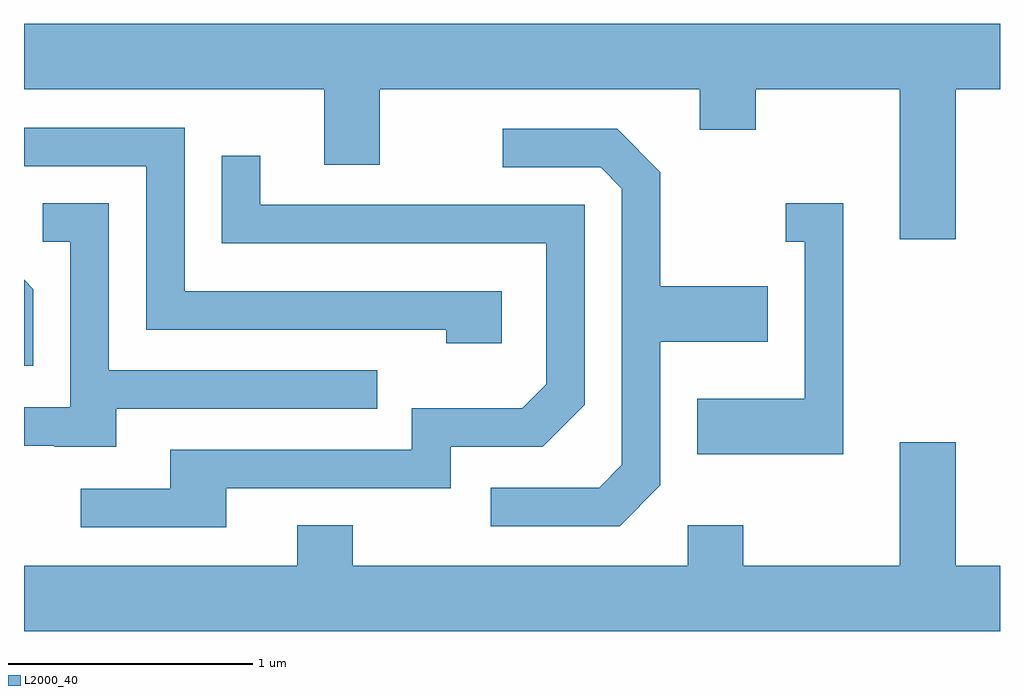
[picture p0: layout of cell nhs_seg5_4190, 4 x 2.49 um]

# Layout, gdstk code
import gdstk
lib = gdstk.Library(unit=1e-6, precision=1e-09)
def P(c, l, *ps):  # polygons
    for p in ps: c.add(gdstk.Polygon(p, *l))
L2000_40 = (2000, 40)

nhs_seg5_4190 = lib.new_cell('nhs_seg5_4190')
P(nhs_seg5_4190, L2000_40, [(313.429,1452.356),(313.611,1452.356),(313.611,1452.624),(309.611,1452.624),(309.611,1452.356),(310.841,1452.356),(310.841,1452.046),(311.069,1452.046),(311.069,1452.356),(312.381,1452.356),(312.381,1452.191),(312.609,1452.191),(312.609,1452.356),(313.201,1452.356),(313.201,1451.741),(313.429,1451.741)],
  [(311.569,1451.529),(310.269,1451.529),(310.269,1452.199),(309.611,1452.199),(309.611,1452.04),(309.612,1452.041),(310.111,1452.041),(310.111,1451.371),(311.341,1451.371),(311.341,1451.316),(311.569,1451.316)],
  [(312.219,1450.734),(312.219,1451.321),(312.659,1451.321),(312.659,1451.549),(312.219,1451.549),(312.219,1452.017),(312.042,1452.194),(311.573,1452.194),(311.573,1452.036),(311.974,1452.036),(312.061,1451.949),(312.061,1450.817),(311.969,1450.724),(311.523,1450.724),(311.523,1450.566),(312.052,1450.566)],
  [(310.439,1450.721),(311.359,1450.721),(311.359,1450.891),(311.737,1450.891),(311.909,1451.064),(311.909,1451.884),(310.579,1451.884),(310.579,1452.083),(310.421,1452.083),(310.421,1451.726),(311.751,1451.726),(311.751,1451.147),(311.654,1451.049),(311.201,1451.049),(311.201,1450.879),(310.211,1450.879),(310.211,1450.719),(309.843,1450.719),(309.843,1450.561),(310.439,1450.561)],
  [(309.989,1451.046),(311.058,1451.046),(311.058,1451.204),(309.959,1451.204),(309.959,1451.889),(309.688,1451.889),(309.688,1451.731),(309.801,1451.731),(309.801,1451.054),(309.611,1451.054),(309.611,1450.896),(309.735,1450.896),(309.735,1450.891),(309.989,1450.891)],
  [(312.969,1451.889),(312.733,1451.889),(312.733,1451.731),(312.811,1451.731),(312.811,1451.089),(312.371,1451.089),(312.371,1450.861),(312.969,1450.861)],
  [(309.649,1451.537),(309.611,1451.575),(309.611,1451.223),(309.649,1451.223)],
  [(313.611,1450.404),(313.429,1450.404),(313.429,1450.909),(313.201,1450.909),(313.201,1450.404),(312.559,1450.404),(312.559,1450.569),(312.331,1450.569),(312.331,1450.404),(310.959,1450.404),(310.959,1450.569),(310.731,1450.569),(310.731,1450.404),(309.611,1450.404),(309.611,1450.136),(313.611,1450.136)])

lib.write_gds('nhs_seg5_4190.gds')
